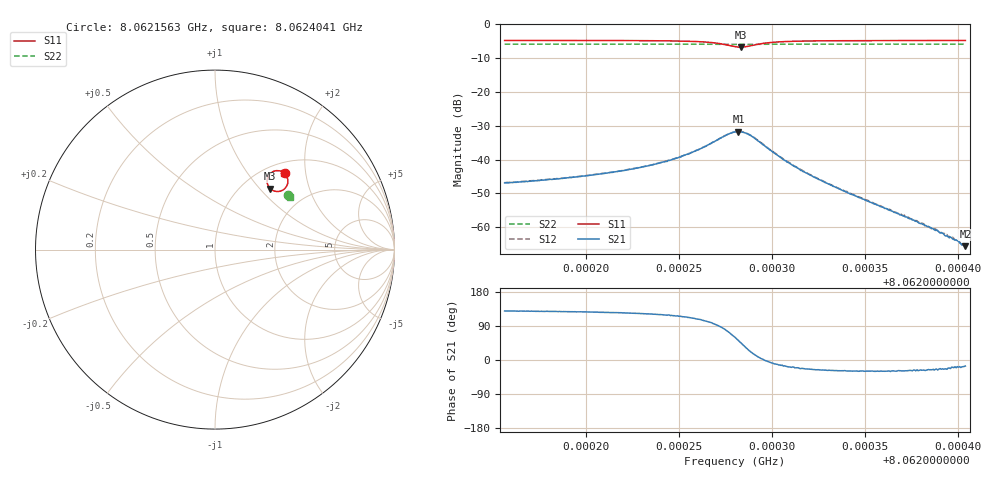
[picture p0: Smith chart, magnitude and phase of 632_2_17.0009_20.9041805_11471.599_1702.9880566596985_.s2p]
#  HZ  S  RI  R  50.00
! Rohde & Schwarz Vector Network Analyzer
! Rohde-Schwarz,ZNB20-2Port,1311601062101988,3.16
! Created: UTC 3/20/2024, 11:20:23 PM
! freq[Hz]  re:S11  im:S11  re:S21  im:S21  re:S12  im:S12  re:S22  im:S22
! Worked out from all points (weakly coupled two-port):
!   401 points, 8.0621563 GHz to 8.0624041 GHz, reference 50 ohm
!   highest |S21| = -31.72 dB at 8.0622821 GHz (marker M1); lowest = -65.6 dB at 8.0624041 GHz (marker M2)
!   lowest |S11| = -6.8 dB at 8.0622833 GHz (marker M3), VSWR 2.69, Z = 66.5 + j57.2 ohm
!   |S11| at or under -10 dB: nowhere
!   |S22| runs from -6.0 to -5.9 dB; largest |S21 - S12| = 0.0014
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8.06215628e9  0.3885 0.4251  -0.00287 0.00349  -0.0027 0.00368  0.4078 0.3029
8.06219779e9  0.3941 0.4187  -0.00341 0.00451  -0.00313 0.00476  0.4094 0.3006
8.0622201e9  0.3981 0.4124  -0.00389 0.00567  -0.00358 0.00592  0.4102 0.2991
8.06223931e9  0.4028 0.403  -0.00439 0.00763  -0.00401 0.00796  0.4109 0.2978
8.06225604e9  0.4065 0.3847  -0.00452 0.0115  -0.00393 0.0118  0.4114 0.2963
8.06226781e9  0.4003 0.3557  -0.00247 0.0176  -0.00134 0.0176  0.411 0.2945
8.06227586e9  0.3693 0.3274  0.00531 0.0226  0.00644 0.0224  0.4097 0.2933
8.0622802e9  0.3339 0.3254  0.0128 0.0221  0.0141 0.0216  0.4082 0.2935
8.06228206e9  0.3178 0.3323  0.0163 0.0202  0.0175 0.0195  0.4076 0.2937
8.0622833e9  0.3082 0.3397  0.0181 0.0182  0.0192 0.0175  0.4075 0.2943
8.06228578e9  0.2947 0.359  0.0206 0.0138  0.0215 0.0129  0.4072 0.2951
8.06228888e9  0.2901 0.3852  0.0211 0.00798  0.0215 0.0069  0.4075 0.2961
8.06229693e9  0.3111 0.4268  0.0153 -0.000552  0.0155 -0.00145  0.4091 0.2973
8.06230684e9  0.3374 0.4392  0.00933 -0.00258  0.00939 -0.00335  0.4108 0.297
8.06232172e9  0.3579 0.4395  0.00519 -0.00239  0.00506 -0.00273  0.412 0.296
8.06234154e9  0.3702 0.436  0.00277 -0.00154  0.00268 -0.00171  0.4133 0.2947
8.06236323e9  0.3774 0.4328  0.00155 -0.000859  0.00155 -0.000996  0.4144 0.2936
8.06237686e9  0.3804 0.431  0.00111 -0.000555  0.00107 -0.00067  0.4149 0.2927
8.06238554e9  0.3818 0.4299  0.000887 -0.000425  0.000852 -0.000493  0.415 0.2923
8.06239297e9  0.3831 0.4292  0.000692 -0.000301  0.000708 -0.000385  0.4154 0.2919
8.06240165e9  0.3844 0.4283  0.000537 -0.000193  0.000513 -0.000246  0.4158 0.2913
8.06240413e9  0.3848 0.428  0.000504 -0.000143  0.000512 -0.00019  0.4159 0.2914
